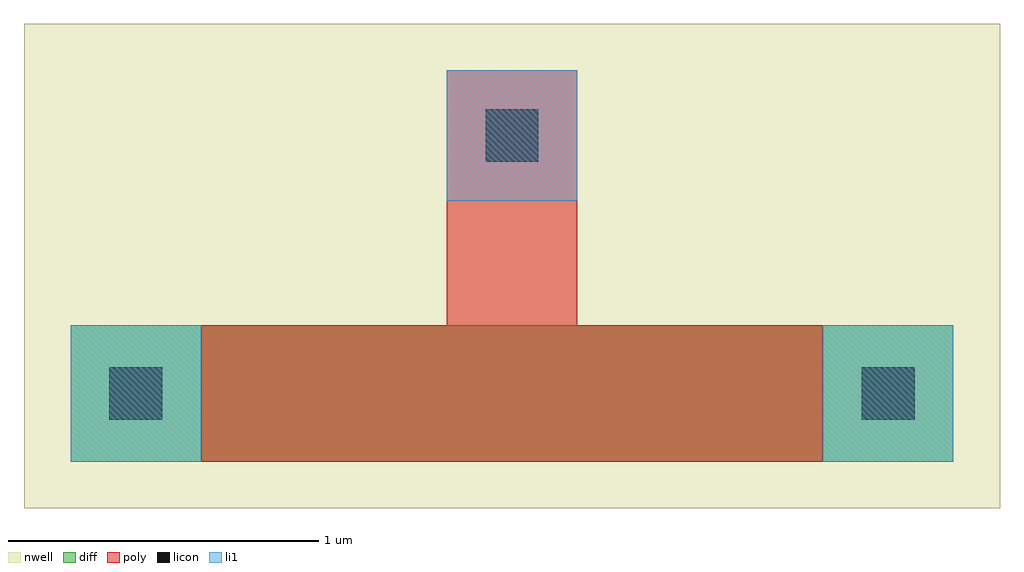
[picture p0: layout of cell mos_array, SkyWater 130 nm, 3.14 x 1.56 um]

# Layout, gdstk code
import gdstk
lib = gdstk.Library(unit=1e-6, precision=1e-09)
def R(c, l, rs):  # rectangles x0, y0, x1, y1
    for r in rs: c.add(gdstk.rectangle(r[:2], r[2:], *l))
nwell = (64, 20)
diff = (65, 20)
poly = (66, 20)
licon = (66, 44)
li1 = (67, 20)

mos_array = lib.new_cell('mos_array')
R(mos_array, nwell, [(-0.15,-0.15,2.99,1.41)])
R(mos_array, diff, [(0,0,2.84,0.44)])
R(mos_array, poly, [(0.42,0,2.42,0.44), (1.21,0.44,1.63,1.26)])
R(mos_array, licon, [(0.125,0.135,0.295,0.305), (2.545,0.135,2.715,0.305), (1.335,0.965,1.505,1.135)])
R(mos_array, li1, [(0,0,0.42,0.44), (2.42,0,2.84,0.44), (1.21,0.84,1.63,1.26)])

lib.write_gds('mos_array.gds')
